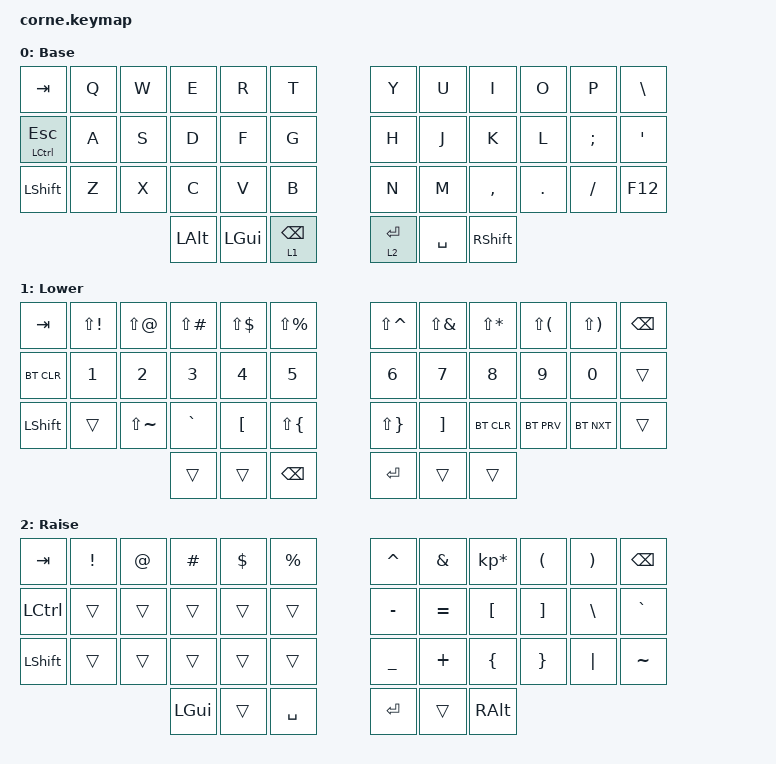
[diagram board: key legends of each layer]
/*
 * Copyright (c) 2020 The ZMK Contributors
 *
 * SPDX-License-Identifier: MIT
 */

#include <behaviors.dtsi>
#include <dt-bindings/zmk/bt.h>
#include <dt-bindings/zmk/keys.h>

/ {
    keymap {
        compatible = "zmk,keymap";

        default_layer {
            // -----------------------------------------------------------------------------------------
            // |  TAB |  Q  |  W  |  E  |  R  |  T  |   |  Y  |  U   |  I  |  O  |  P  | BKSP |
            // | CTRL |  A  |  S  |  D  |  F  |  G  |   |  H  |  J   |  K  |  L  |  ;  |  '   |
            // | SHFT |  Z  |  X  |  C  |  V  |  B  |   |  N  |  M   |  ,  |  .  |  /  | ESC  |
            //                    | GUI | LWR | SPC |   | ENT | RSE  | ALT |

            label = "Base";
            bindings = <
&kp TAB        &kp Q  &kp W  &kp E     &kp R     &kp T              &kp Y        &kp U      &kp I       &kp O    &kp P     &kp BSLH
&mt LCTRL ESC  &kp A  &kp S  &kp D     &kp F     &kp G              &kp H        &kp J      &kp K       &kp L    &kp SEMI  &kp SQT
&kp LSHFT      &kp Z  &kp X  &kp C     &kp V     &kp B              &kp N        &kp M      &kp COMMA   &kp DOT  &kp FSLH  &kp F12
                             &kp LALT  &kp LGUI  &lt 1 BACKSPACE    &lt 2 ENTER  &kp SPACE  &kp RSHIFT
            >;
        };

        lower_layer {
            // -----------------------------------------------------------------------------------------
            // |  TAB |  1  |  2  |  3  |  4  |  5  |   |  6  |  7  |  8  |  9  |  0  | BKSP |
            // | BTCLR| BT1 | BT2 | BT3 | BT4 | BT5 |   | LFT | DWN |  UP | RGT |     |      |
            // | SHFT |     |     |     |     |     |   |     |     |     |     |     |      |
            //                    | GUI |     | SPC |   | ENT |     | ALT |

            label = "Lower";
            bindings = <
&kp TAB     &kp LS(EXCL)  &kp LS(AT)     &kp LS(POUND)  &kp LS(DLLR)  &kp LS(PRCNT)    &kp LS(CARET)  &kp LS(AMPS)  &kp LS(STAR)  &kp LS(LPAR)  &kp LS(RPAR)  &kp BSPC
&bt BT_CLR  &kp N1        &kp N2         &kp N3         &kp N4        &kp N5           &kp N6         &kp N7        &kp N8        &kp N9        &kp N0        &trans
&kp LSHFT   &trans        &kp LS(TILDE)  &kp GRAVE      &kp LBKT      &kp LS(LBRC)     &kp LS(RBRC)   &kp RBKT      &bt BT_CLR    &bt BT_PRV    &bt BT_NXT    &trans
                                         &trans         &trans        &kp BACKSPACE    &kp RET        &trans        &trans
            >;
        };

        raise_layer {
            // -----------------------------------------------------------------------------------------
            // |  TAB |  !  |  @  |  #  |  $  |  %  |   |  ^  |  &  |  *  |  (  |  )  | BKSP |
            // | CTRL |     |     |     |     |     |   |  -  |  =  |  [  |  ]  |  \  |  `   |
            // | SHFT |     |     |     |     |     |   |  _  |  +  |  {  |  }  | "|" |  ~   |
            //                    | GUI |     | SPC |   | ENT |     | ALT |

            label = "Raise";
            bindings = <
&kp TAB    &kp EXCL  &kp AT  &kp HASH  &kp DLLR  &kp PRCNT    &kp CARET  &kp AMPS   &kp KP_MULTIPLY  &kp LPAR  &kp RPAR  &kp BSPC
&kp LCTRL  &trans    &trans  &trans    &trans    &trans       &kp MINUS  &kp EQUAL  &kp LBKT         &kp RBKT  &kp BSLH  &kp GRAVE
&kp LSHFT  &trans    &trans  &trans    &trans    &trans       &kp UNDER  &kp PLUS   &kp LBRC         &kp RBRC  &kp PIPE  &kp TILDE
                             &kp LGUI  &trans    &kp SPACE    &kp RET    &trans     &kp RALT
            >;
        };
    };
};
